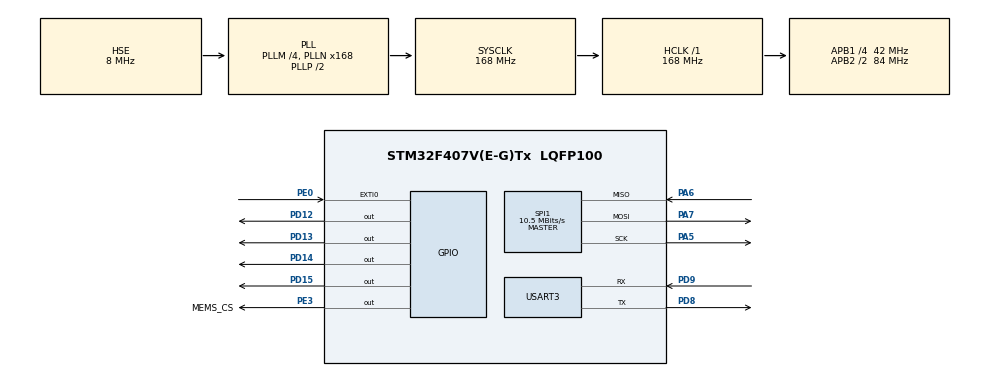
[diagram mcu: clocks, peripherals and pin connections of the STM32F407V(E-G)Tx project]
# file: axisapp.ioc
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Mcu.Family=STM32F4
Mcu.Name=STM32F407V(E-G)Tx
Mcu.Package=LQFP100
NVIC.EXTI0_IRQn=true\:0\:0\:false\:false\:true\:true\:true
NVIC.PriorityGroup=NVIC_PRIORITYGROUP_0
PA5.Mode=Full_Duplex_Master
PA5.Signal=SPI1_SCK
PA6.Mode=Full_Duplex_Master
PA6.Signal=SPI1_MISO
PA7.Mode=Full_Duplex_Master
PA7.Signal=SPI1_MOSI
PD12.Signal=GPIO_Output
PD13.Signal=GPIO_Output
PD14.Signal=GPIO_Output
PD15.Signal=GPIO_Output
PD8.Mode=Asynchronous
PD8.Signal=USART3_TX
PD9.Mode=Asynchronous
PD9.Signal=USART3_RX
PE0.Signal=GPXTI0
PE3.GPIO_Label=MEMS_CS
PE3.Signal=GPIO_Output
PH0-OSC_IN.Mode=HSE-External-Oscillator
PH0-OSC_IN.Signal=RCC_OSC_IN
PH1-OSC_OUT.Mode=HSE-External-Oscillator
PH1-OSC_OUT.Signal=RCC_OSC_OUT
ProjectManager.HeapSize=0x800
ProjectManager.StackSize=0x800
ProjectManager.TargetToolchain=STM32CubeIDE
RCC.48MHZClocksFreq_Value=48000000
RCC.AHBFreq_Value=168000000
RCC.APB1CLKDivider=RCC_HCLK_DIV4
RCC.APB1Freq_Value=42000000
RCC.APB1TimFreq_Value=84000000
RCC.APB2CLKDivider=RCC_HCLK_DIV2
RCC.APB2Freq_Value=84000000
RCC.APB2TimFreq_Value=168000000
RCC.CortexFreq_Value=168000000
RCC.HCLKFreq_Value=168000000
RCC.HSE_VALUE=8000000
RCC.HSI_VALUE=16000000
RCC.LSE_VALUE=32768
RCC.PLLM=4
RCC.PLLN=168
RCC.PLLQ=7
RCC.PLLSourceVirtual=RCC_PLLSOURCE_HSE
RCC.SYSCLKFreq_VALUE=168000000
RCC.SYSCLKSource=RCC_SYSCLKSOURCE_PLLCLK
RCC.VCOOutputFreq_Value=336000000
SPI1.BaudRatePrescaler=SPI_BAUDRATEPRESCALER_8
SPI1.CalculateBaudRate=10.5 MBits/s
SPI1.Direction=SPI_DIRECTION_2LINES
SPI1.Mode=SPI_MODE_MASTER
SPI1.VirtualType=VM_MASTER
STMicroelectronics.X-CUBE-AI.7.1.0.ActivationBufferSizeList=2768
STMicroelectronics.X-CUBE-AI.7.1.0.ActivationBuffers=pool0
STMicroelectronics.X-CUBE-AI.7.1.0.ActivationNames=pool0
STMicroelectronics.X-CUBE-AI.7.1.0.ActivationSizes=AI_GESTURE_DATA_ACTIVATION_1_SIZE
STMicroelectronics.X-CUBE-AI.7.1.0.HeapSize=0x800
STMicroelectronics.X-CUBE-AI.7.1.0.InternalRamActivationBufferMaxSize=AI_GESTURE_DATA_ACTIVATIONS_SIZE
STMicroelectronics.X-CUBE-AI.7.1.0.LatestDirectoryUsed-15b4797f0aee1a96844e06e98a8e69a8c0fbe0a6d7da289856fcda02ebc9dd43=C\:\\Users\\DELL\\Desktop\\YLproje
STMicroelectronics.X-CUBE-AI.7.1.0.MaximumNumberOfInputLayer=1
STMicroelectronics.X-CUBE-AI.7.1.0.MaximumNumberOfOutputLayer=1
STMicroelectronics.X-CUBE-AI.7.1.0.MaximumSizeOfInputLayer=AI_GESTURE_IN_1_SIZE_BYTES
STMicroelectronics.X-CUBE-AI.7.1.0.MaximumSizeOfOutputLayer=AI_GESTURE_OUT_1_SIZE_BYTES
STMicroelectronics.X-CUBE-AI.7.1.0.ModelActualCompression-15b4797f0aee1a96844e06e98a8e69a8c0fbe0a6d7da289856fcda02ebc9dd43=0.0
STMicroelectronics.X-CUBE-AI.7.1.0.ModelCompression-15b4797f0aee1a96844e06e98a8e69a8c0fbe0a6d7da289856fcda02ebc9dd43=1
STMicroelectronics.X-CUBE-AI.7.1.0.ModelFlashOccupation-15b4797f0aee1a96844e06e98a8e69a8c0fbe0a6d7da289856fcda02ebc9dd43=40464
STMicroelectronics.X-CUBE-AI.7.1.0.ModelHashList=15b4797f0aee1a96844e06e98a8e69a8c0fbe0a6d7da289856fcda02ebc9dd43
STMicroelectronics.X-CUBE-AI.7.1.0.ModelKind-15b4797f0aee1a96844e06e98a8e69a8c0fbe0a6d7da289856fcda02ebc9dd43=TFLITE
STMicroelectronics.X-CUBE-AI.7.1.0.ModelMacc-15b4797f0aee1a96844e06e98a8e69a8c0fbe0a6d7da289856fcda02ebc9dd43=7023
STMicroelectronics.X-CUBE-AI.7.1.0.ModelName-15b4797f0aee1a96844e06e98a8e69a8c0fbe0a6d7da289856fcda02ebc9dd43=gesture
STMicroelectronics.X-CUBE-AI.7.1.0.ModelNameList=gesture
STMicroelectronics.X-CUBE-AI.7.1.0.ModelRamOccupation-15b4797f0aee1a96844e06e98a8e69a8c0fbe0a6d7da289856fcda02ebc9dd43=2768
STMicroelectronics.X-CUBE-AI.7.1.0.ModelStructureFile-15b4797f0aee1a96844e06e98a8e69a8c0fbe0a6d7da289856fcda02ebc9dd43=C\:\\Users\\DELL\\Desktop\\YLproje\\gesture_model.tflite
STMicroelectronics.X-CUBE-AI.7.1.0.ModelType-15b4797f0aee1a96844e06e98a8e69a8c0fbe0a6d7da289856fcda02ebc9dd43=STM32Cube.AI runtime
STMicroelectronics.X-CUBE-AI.7.1.0.ReadyForCodeGeneration=true
STMicroelectronics.X-CUBE-AI.7.1.0.StackSize=0x800
STMicroelectronics.X-CUBE-AI.7.1.0.WorkingBufferStartAddrList=0xFFFFFFFF
STMicroelectronics.X-CUBE-AI.7.1.0.XAaCUBEAaAICcArtificialOoIntelligenceJjCore=true
USART3.VirtualMode=VM_ASYNC
VP_CRC_VS_CRC.Mode=CRC_Activate
VP_STMicroelectronics.X-CUBE-AI_VS_ArtificialOoIntelligenceJjXAaCUBEAaAI_7.1.0.Mode=ArtificialOoIntelligenceJjXAaCUBEAaAI
board=STM32F407G-DISC1

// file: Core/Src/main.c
/* USER CODE BEGIN Header */
/**
 ******************************************************************************
 * @file           : main.c
 * @brief          : Main program body
 ******************************************************************************
 * @attention
 *
 * Copyright (c) 2022 STMicroelectronics.
 * All rights reserved.
 *
 * This software is licensed under terms that can be found in the LICENSE file
 * in the root directory of this software component.
 * If no LICENSE file comes with this software, it is provided AS-IS.
 *
 ******************************************************************************
 */
/* USER CODE END Header */
#include "main.h"

/* USER CODE BEGIN Includes */
#include "MY_LIS3DSH.h"
#include "gesture.h"
#include "gesture_data.h"

/* USER CODE END Includes */

/* USER CODE BEGIN PD */

#define KAL_ERROR_ESTIMATED			((float) 9800)
#define KAL_ERROR_MEASUREMENT			((float) 9800)
#define KAL_NOISE_PROCESS			((float) 10)

/* USER CODE END PD */

CRC_HandleTypeDef hcrc;

SPI_HandleTypeDef hspi1;

UART_HandleTypeDef huart3;

void SystemClock_Config(void);
static void MX_GPIO_Init(void);
static void MX_SPI1_Init(void);
static void MX_USART3_UART_Init(void);
static void MX_CRC_Init(void);

/* USER CODE BEGIN 0 */
LIS3DSH_DataScaled myData;
LIS3DSH_DataRaw myDataRaw;
uint8_t drdyFlag=0;
int8_t sendData[8];
char text[23];

uint8_t MyString[13] = "Hello World\r\n";

float kalman_gain_x,err_est_x,err_mea_x, current_estimate_x,last_estimate_x, proc_noise_x;
float err_est_x = KAL_ERROR_ESTIMATED; float err_mea_x = KAL_ERROR_MEASUREMENT; float proc_noise_x = KAL_NOISE_PROCESS;

/* mea - data read from sensor
 * err_est, err_mea, proc_noise is set by user, mN/s^2 */

float KalmanFilter_X(float mea_x)
{
	kalman_gain_x = err_est_x/(err_est_x + err_mea_x) ;
	current_estimate_x = last_estimate_x + kalman_gain_x*(mea_x-last_estimate_x);
	err_est_x = (1.0-kalman_gain_x)*err_est_x + fabs(last_estimate_x-current_estimate_x)*proc_noise_x;
	last_estimate_x = current_estimate_x;
	return current_estimate_x;
}

float kalman_gain_y,err_est_y,err_mea_y, current_estimate_y,last_estimate_y, proc_noise_y;
float err_est_y = KAL_ERROR_ESTIMATED; float err_mea_y = KAL_ERROR_MEASUREMENT; float proc_noise_y = KAL_NOISE_PROCESS;

float KalmanFilter_Y(float mea_y)
{
	kalman_gain_y = err_est_y/(err_est_y + err_mea_y) ;
	current_estimate_y = last_estimate_y + kalman_gain_y*(mea_y-last_estimate_y);
	err_est_y = (1.0-kalman_gain_y)*err_est_y + fabs(last_estimate_y-current_estimate_y)*proc_noise_y;
	last_estimate_y = current_estimate_y;
	return current_estimate_y;
}

float kalman_gain_z,err_est_z,err_mea_z, current_estimate_z,last_estimate_z, proc_noise_z;
float err_est_z = KAL_ERROR_ESTIMATED; float err_mea_z = KAL_ERROR_MEASUREMENT; float proc_noise_z = KAL_NOISE_PROCESS;

float KalmanFilter_Z(float mea_z)
{
	kalman_gain_z = err_est_z/(err_est_z + err_mea_z) ;
	current_estimate_z = last_estimate_z + kalman_gain_z*(mea_z-last_estimate_z);
	err_est_z = (1.0-kalman_gain_z)*err_est_z + fabs(last_estimate_z-current_estimate_z)*proc_noise_z;
	last_estimate_z = current_estimate_z;
	return current_estimate_z;
}

float kal_a_z, kal_a_x, kal_a_y;

float out_data0;

ai_u8 activations[AI_GESTURE_DATA_ACTIVATIONS_SIZE];
float in_data[AI_GESTURE_IN_1_SIZE];
float out_data[AI_GESTURE_OUT_1_SIZE];

ai_buffer *ai_input;
ai_buffer *ai_output;

ai_handle network = AI_HANDLE_NULL;
ai_error err;
ai_network_report report;

/* USER CODE END 0 */

int main(void)
{
  /* USER CODE BEGIN 1 */
	LIS3DSH_InitTypeDef myAccConfigDef;
  /* USER CODE END 1 */

  /* MCU Configuration--------------------------------------------------------*/

  /* Reset of all peripherals, Initializes the Flash interface and the Systick. */
  HAL_Init();

  /* Configure the system clock */
  SystemClock_Config();

  /* Initialize all configured peripherals */
  MX_GPIO_Init();
  MX_SPI1_Init();
  MX_USART3_UART_Init();
  MX_CRC_Init();
  /* USER CODE BEGIN 2 */
	myAccConfigDef.dataRate = LIS3DSH_DATARATE_25;
	myAccConfigDef.fullScale = LIS3DSH_FULLSCALE_4;
	myAccConfigDef.antiAliasingBW = LIS3DSH_FILTER_BW_50;
	myAccConfigDef.enableAxes = LIS3DSH_XYZ_ENABLE;
	myAccConfigDef.interruptEnable = true;
	LIS3DSH_Init(&hspi1, &myAccConfigDef);

	LIS3DSH_X_calibrate(-1000.0, 980.0);
	LIS3DSH_Y_calibrate(-1020.0, 1040.0);
	LIS3DSH_Z_calibrate(-920.0, 1040.0);

	//Yapay Sinir Ağı

	  /** @brief Initialize network */
	    const ai_handle acts[] = { activations };
	    err = ai_gesture_create_and_init(&network, acts, NULL);
	    if (err.type != AI_ERROR_NONE) {
	        printf("ai init_and_create error\n");
	        return -1;
	    }

	    /** @brief {optional} for debug/log purpose */
	    if (ai_gesture_get_report(network, &report) != true) {
	        printf("ai get report error\n");
	        return -1;
	    }

	    printf("Model name      : %s\n", report.model_name);
	    printf("Model signature : %s\n", report.model_signature);

	    ai_input = &report.inputs[0];
	    ai_output = &report.outputs[0];
	    printf("input[0] : (%d, %d, %d)\n", AI_BUFFER_SHAPE_ELEM(ai_input, AI_SHAPE_HEIGHT),
	                                        AI_BUFFER_SHAPE_ELEM(ai_input, AI_SHAPE_WIDTH),
	                                        AI_BUFFER_SHAPE_ELEM(ai_input, AI_SHAPE_CHANNEL));
	    printf("output[0] : (%d, %d, %d)\n", AI_BUFFER_SHAPE_ELEM(ai_output, AI_SHAPE_HEIGHT),
	                                         AI_BUFFER_SHAPE_ELEM(ai_output, AI_SHAPE_WIDTH),
	                                         AI_BUFFER_SHAPE_ELEM(ai_output, AI_SHAPE_CHANNEL));

	    /** @brief Fill input buffer with random values */
	    srand(1);
	    for (int i = 0; i < AI_GESTURE_IN_1_SIZE; i++) {
	        in_data[i] = rand() % 0xFFFF;
	    }

	    /** @brief Normalize, convert and/or quantize inputs if necessary... */

	    /** @brief Perform inference */
	    ai_i32 n_batch;

	    /** @brief Create the AI buffer IO handlers
	     *  @note  ai_inuput/ai_output are already initilaized after the
	     *         ai_network_get_report() call. This is just here to illustrate
	     *         the case where get_report() is not called.
	     */
	    ai_input = ai_gesture_inputs_get(network, NULL);
	    ai_output = ai_gesture_outputs_get(network, NULL);

	    /** @brief Set input/output buffer addresses */
	    ai_input[0].data = AI_HANDLE_PTR(in_data);
	    ai_output[0].data = AI_HANDLE_PTR(out_data);
int firstInData = 0;

  /* USER CODE END 2 */

  /* Infinite loop */
	while (1)
	{

    /* USER CODE BEGIN 3 */
		if(drdyFlag == 1)
		{
			drdyFlag = 0;
			myData = LIS3DSH_GetDataScaled();
			myDataRaw = LIS3DSH_GetDataRaw();

			/*
	  			sendData[0] = myDataRaw.x & 0xff;
	  			sendData[1] = (myDataRaw.x >>8) & 0xff;
	  			sendData[2] = 5;
	  			sendData[3] = 5;
	  			sendData[4] = 5;
	  			sendData[5] = 5;
	  			sendData[6] = 5;
	  			sendData[7] = 5;

			 */
			kal_a_x=KalmanFilter_X(myDataRaw.x);
			kal_a_y=KalmanFilter_Y(myDataRaw.y);
			kal_a_z=KalmanFilter_Z(myDataRaw.z);
			//kalmansız veriler
			//sprintf(text,"x%06dy%06dz%06d\r\n",myDataRaw.x,myDataRaw.y,myDataRaw.z);
			//kalman filtreli veri
			sprintf(text,"x%06dy%06dz%06d\r\n",kal_a_x,kal_a_y,kal_a_z);
			HAL_UART_Transmit(&huart3,text, 23, 10);

			if(firstInData< AI_GESTURE_IN_1_SIZE)
			{
				in_data[firstInData] = (kal_a_x+10000)/20000;
				in_data[firstInData+1] = (kal_a_y+10000)/20000;
				in_data[firstInData+2] = (kal_a_z+10000)/20000;
				firstInData = firstInData+3;
			}

			else{

				for(int i=0; i<AI_GESTURE_IN_1_SIZE-3;i++)
				{

					in_data[i] = in_data[i+3];

				}

			in_data[AI_GESTURE_IN_1_SIZE-3] = (kal_a_x+10000)/20000;
			in_data[AI_GESTURE_IN_1_SIZE-2] = (kal_a_y+10000)/20000;
			in_data[AI_GESTURE_IN_1_SIZE-1] = (kal_a_z+10000)/20000;

		    /** @brief Perform the inference */

		    n_batch = ai_gesture_run(network, &ai_input[0], &ai_output[0]);
		    if (n_batch != 1) {
		        err = ai_gesture_get_error(network);
		        printf("ai run error %d, %d\n", err.type, err.code);
		      return -1;
		    }

		    /** @brief Post-process the output results/predictions */
		    printf("Inference output..\n");
		    for (int i = 0; i < AI_GESTURE_OUT_1_SIZE; i++) {
		        printf("%d,", out_data[i]);

		    }

			}

		}

if(out_data[0]>0.9)
{
	HAL_GPIO_WritePin(GPIOD,GPIO_PIN_12, GPIO_PIN_SET);
}
else
{
	HAL_GPIO_WritePin(GPIOD,GPIO_PIN_12, GPIO_PIN_RESET);
}
if(out_data[1]>0.9)
{
	HAL_GPIO_WritePin(GPIOD,GPIO_PIN_13, GPIO_PIN_SET);
}
else
{
	HAL_GPIO_WritePin(GPIOD,GPIO_PIN_13, GPIO_PIN_RESET);
}
if(out_data[2]>0.9)
{
	HAL_GPIO_WritePin(GPIOD,GPIO_PIN_14, GPIO_PIN_SET);
}
else
{
	HAL_GPIO_WritePin(GPIOD,GPIO_PIN_14, GPIO_PIN_RESET);
}

//HAL_GPIO_TogglePin(GPIOD, GPIO_PIN_12);
		//HAL_GPIO_WritePin(GPIOD,GPIO_PIN_14, GPIO_PIN_SET);

	}
  /* USER CODE END 3 */
}

void SystemClock_Config(void)
{
  RCC_OscInitTypeDef RCC_OscInitStruct = {0};
  RCC_ClkInitTypeDef RCC_ClkInitStruct = {0};

  /** Configure the main internal regulator output voltage
  */
  __HAL_RCC_PWR_CLK_ENABLE();
  __HAL_PWR_VOLTAGESCALING_CONFIG(PWR_REGULATOR_VOLTAGE_SCALE1);
  /** Initializes the RCC Oscillators according to the specified parameters
  * in the RCC_OscInitTypeDef structure.
  */
  RCC_OscInitStruct.OscillatorType = RCC_OSCILLATORTYPE_HSE;
  RCC_OscInitStruct.HSEState = RCC_HSE_ON;
  RCC_OscInitStruct.PLL.PLLState = RCC_PLL_ON;
  RCC_OscInitStruct.PLL.PLLSource = RCC_PLLSOURCE_HSE;
  RCC_OscInitStruct.PLL.PLLM = 4;
  RCC_OscInitStruct.PLL.PLLN = 168;
  RCC_OscInitStruct.PLL.PLLP = RCC_PLLP_DIV2;
  RCC_OscInitStruct.PLL.PLLQ = 7;
  if (HAL_RCC_OscConfig(&RCC_OscInitStruct) != HAL_OK)
  {
    Error_Handler();
  }
  /** Initializes the CPU, AHB and APB buses clocks
  */
  RCC_ClkInitStruct.ClockType = RCC_CLOCKTYPE_HCLK|RCC_CLOCKTYPE_SYSCLK
                              |RCC_CLOCKTYPE_PCLK1|RCC_CLOCKTYPE_PCLK2;
  RCC_ClkInitStruct.SYSCLKSource = RCC_SYSCLKSOURCE_PLLCLK;
  RCC_ClkInitStruct.AHBCLKDivider = RCC_SYSCLK_DIV1;
  RCC_ClkInitStruct.APB1CLKDivider = RCC_HCLK_DIV4;
  RCC_ClkInitStruct.APB2CLKDivider = RCC_HCLK_DIV2;

  if (HAL_RCC_ClockConfig(&RCC_ClkInitStruct, FLASH_LATENCY_5) != HAL_OK)
  {
    Error_Handler();
  }
}

static void MX_CRC_Init(void)
{

  hcrc.Instance = CRC;
  if (HAL_CRC_Init(&hcrc) != HAL_OK)
  {
    Error_Handler();
  }

}

static void MX_SPI1_Init(void)
{

  /* SPI1 parameter configuration*/
  hspi1.Instance = SPI1;
  hspi1.Init.Mode = SPI_MODE_MASTER;
  hspi1.Init.Direction = SPI_DIRECTION_2LINES;
  hspi1.Init.DataSize = SPI_DATASIZE_8BIT;
  hspi1.Init.CLKPolarity = SPI_POLARITY_LOW;
  hspi1.Init.CLKPhase = SPI_PHASE_1EDGE;
  hspi1.Init.NSS = SPI_NSS_SOFT;
  hspi1.Init.BaudRatePrescaler = SPI_BAUDRATEPRESCALER_8;
  hspi1.Init.FirstBit = SPI_FIRSTBIT_MSB;
  hspi1.Init.TIMode = SPI_TIMODE_DISABLE;
  hspi1.Init.CRCCalculation = SPI_CRCCALCULATION_DISABLE;
  hspi1.Init.CRCPolynomial = 10;
  if (HAL_SPI_Init(&hspi1) != HAL_OK)
  {
    Error_Handler();
  }

}

static void MX_USART3_UART_Init(void)
{

  huart3.Instance = USART3;
  huart3.Init.BaudRate = 115200;
  huart3.Init.WordLength = UART_WORDLENGTH_8B;
  huart3.Init.StopBits = UART_STOPBITS_1;
  huart3.Init.Parity = UART_PARITY_NONE;
  huart3.Init.Mode = UART_MODE_TX_RX;
  huart3.Init.HwFlowCtl = UART_HWCONTROL_NONE;
  huart3.Init.OverSampling = UART_OVERSAMPLING_16;
  if (HAL_UART_Init(&huart3) != HAL_OK)
  {
    Error_Handler();
  }

}

static void MX_GPIO_Init(void)
{
  GPIO_InitTypeDef GPIO_InitStruct = {0};

  /* GPIO Ports Clock Enable */
  __HAL_RCC_GPIOE_CLK_ENABLE();
  __HAL_RCC_GPIOH_CLK_ENABLE();
  __HAL_RCC_GPIOA_CLK_ENABLE();
  __HAL_RCC_GPIOD_CLK_ENABLE();

  /*Configure GPIO pin Output Level */
  HAL_GPIO_WritePin(MEMS_CS_GPIO_Port, MEMS_CS_Pin, GPIO_PIN_RESET);

  /*Configure GPIO pin Output Level */
  HAL_GPIO_WritePin(GPIOD, GPIO_PIN_12|GPIO_PIN_13|GPIO_PIN_14|GPIO_PIN_15, GPIO_PIN_RESET);

  /*Configure GPIO pin : MEMS_CS_Pin */
  GPIO_InitStruct.Pin = MEMS_CS_Pin;
  GPIO_InitStruct.Mode = GPIO_MODE_OUTPUT_PP;
  GPIO_InitStruct.Pull = GPIO_NOPULL;
  GPIO_InitStruct.Speed = GPIO_SPEED_FREQ_LOW;
  HAL_GPIO_Init(MEMS_CS_GPIO_Port, &GPIO_InitStruct);

  /*Configure GPIO pins : PD12 PD13 PD14 PD15 */
  GPIO_InitStruct.Pin = GPIO_PIN_12|GPIO_PIN_13|GPIO_PIN_14|GPIO_PIN_15;
  GPIO_InitStruct.Mode = GPIO_MODE_OUTPUT_PP;
  GPIO_InitStruct.Pull = GPIO_NOPULL;
  GPIO_InitStruct.Speed = GPIO_SPEED_FREQ_LOW;
  HAL_GPIO_Init(GPIOD, &GPIO_InitStruct);

  /*Configure GPIO pin : PE0 */
  GPIO_InitStruct.Pin = GPIO_PIN_0;
  GPIO_InitStruct.Mode = GPIO_MODE_IT_RISING;
  GPIO_InitStruct.Pull = GPIO_NOPULL;
  HAL_GPIO_Init(GPIOE, &GPIO_InitStruct);

  /* EXTI interrupt init*/
  HAL_NVIC_SetPriority(EXTI0_IRQn, 0, 0);
  HAL_NVIC_EnableIRQ(EXTI0_IRQn);

}

/* USER CODE BEGIN 4 */
void HAL_GPIO_EXTI_Callback(uint16_t GPIO_Pin)
{
	/* Prevent unused argument(s) compilation warning */
	UNUSED(GPIO_Pin);
	/* NOTE: This function Should not be modified, when the callback is needed,
           the HAL_GPIO_EXTI_Callback could be implemented in the user file
	 */

	drdyFlag = 1;
	//HAL_GPIO_TogglePin(GPIOD, GPIO_PIN_13);
}
/* USER CODE END 4 */

void Error_Handler(void)
{
	__disable_irq();
	while (1)
	{
	}
}
